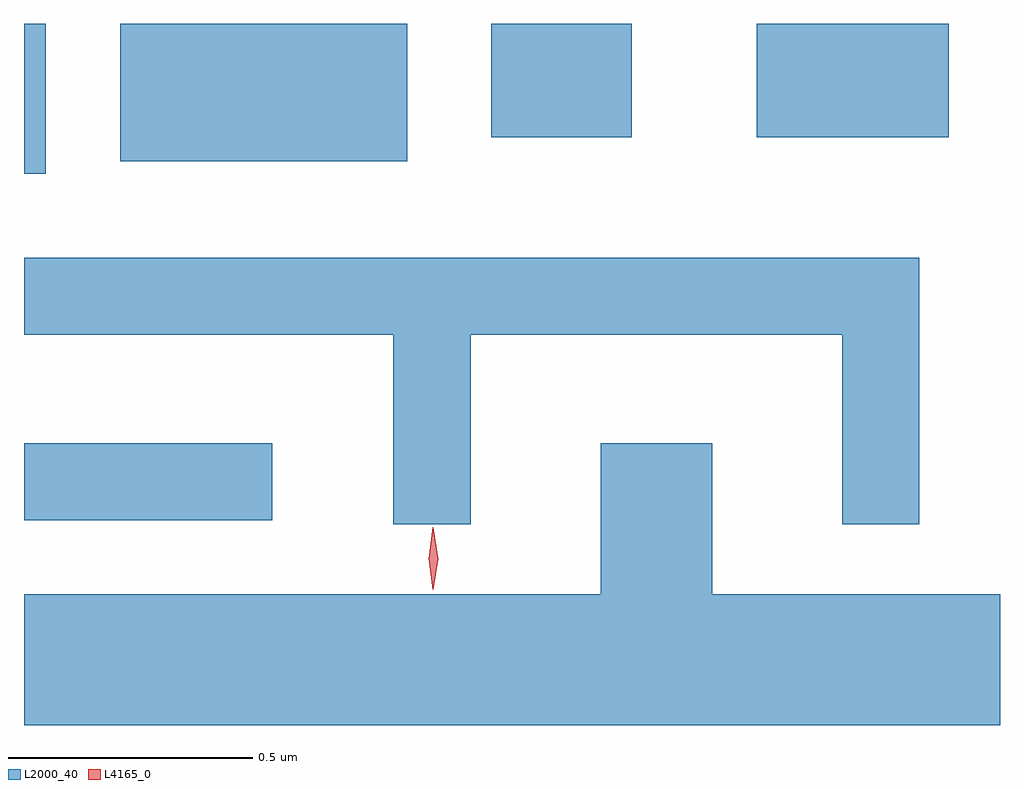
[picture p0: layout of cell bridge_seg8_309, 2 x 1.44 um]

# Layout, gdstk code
import gdstk
lib = gdstk.Library(unit=1e-6, precision=1e-09)
def R(c, l, rs):  # rectangles x0, y0, x1, y1
    for r in rs: c.add(gdstk.rectangle(r[:2], r[2:], *l))
def P(c, l, *ps):  # polygons
    for p in ps: c.add(gdstk.Polygon(p, *l))
L2000_40 = (2000, 40)
L4165_0 = (4165, 0)

bridge_seg8_309 = lib.new_cell('bridge_seg8_309')
R(bridge_seg8_309, L2000_40, [(1411.659,1865.696,1412.168,1865.854), (1411.659,1866.406,1411.704,1866.713), (1411.856,1866.431,1412.444,1866.713), (1412.616,1866.481,1412.904,1866.713), (1413.161,1866.481,1413.554,1866.713)])
P(bridge_seg8_309, L2000_40, [(1412.574,1866.076),(1413.336,1866.076),(1413.336,1865.688),(1413.494,1865.688),(1413.494,1866.234),(1411.659,1866.234),(1411.659,1866.076),(1412.416,1866.076),(1412.416,1865.688),(1412.574,1865.688)],
  [(1413.659,1865.544),(1413.069,1865.544),(1413.069,1865.854),(1412.841,1865.854),(1412.841,1865.544),(1411.659,1865.544),(1411.659,1865.276),(1413.659,1865.276)])
P(bridge_seg8_309, L4165_0, [(1412.497,1865.553),(1412.488,1865.617),(1412.497,1865.682),(1412.498,1865.682),(1412.498,1865.682),(1412.508,1865.617),(1412.498,1865.553),(1412.498,1865.553)])

lib.write_gds('bridge_seg8_309.gds')
